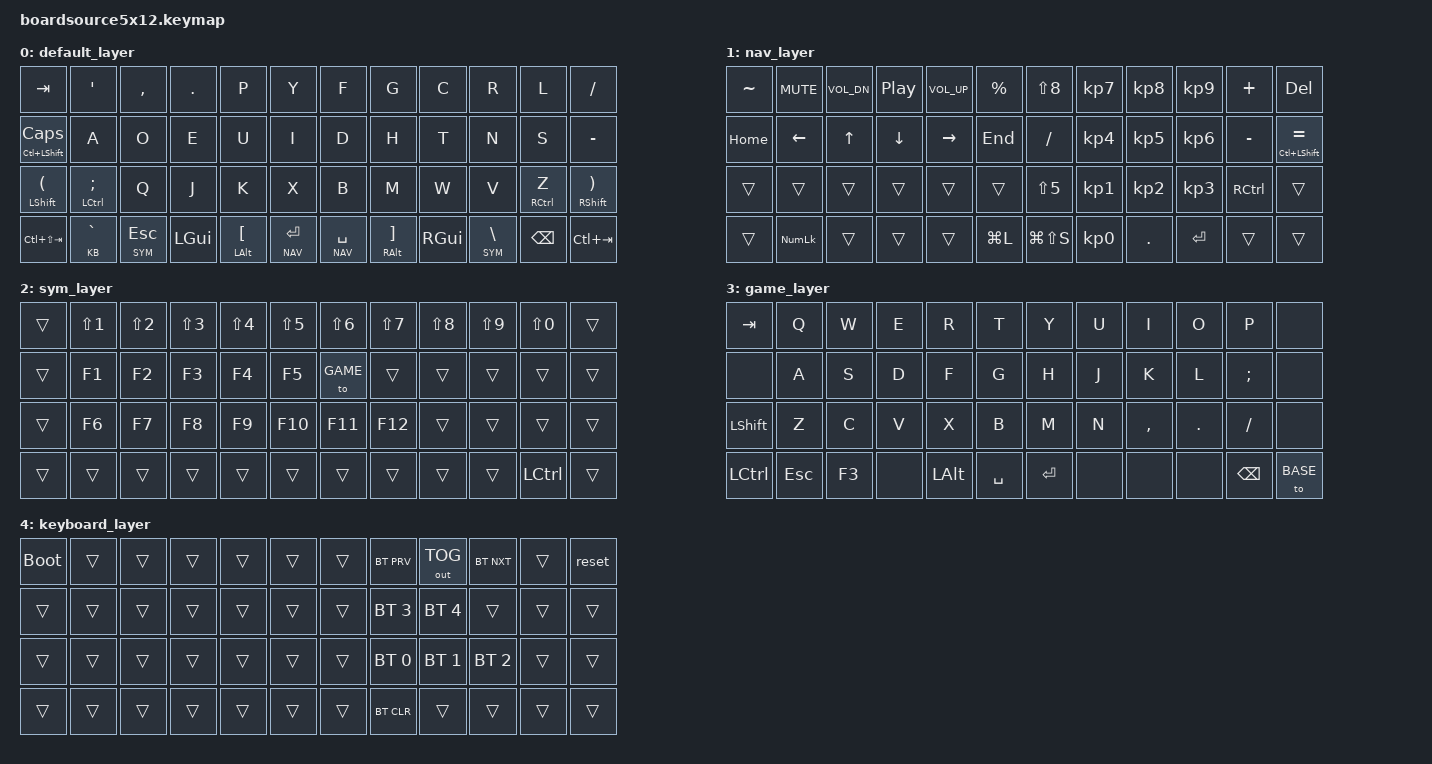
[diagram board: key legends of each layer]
/*
 * Copyright (c) 2021 The ZMK Contributors
 *
 * SPDX-License-Identifier: MIT
 */
 
#include <behaviors.dtsi>
#include <dt-bindings/zmk/keys.h>
#include <dt-bindings/zmk/bt.h>
#include <dt-bindings/zmk/outputs.h>

#define BASE 0
#define NAV 1
#define SYM 2
#define GAME 3
#define KB 4

/ {
    keymap {
        compatible = "zmk,keymap";

        default_layer {
            // ------------------------------------------------------------------------------------------
            // |  ESC  |  1   |  2   |  3   |  4   |   5   |   6   |  7    |  8   |  9   |   0   | BSPC  | <-- REMOVED
            // |  TAB  |  Q   |  W   |  E   |  R   |   T   |   Y   |  U    |  I   |  O   |   P   |  \    |
            // | SHIFT |  A   |  S   |  D   |  F   |   G   |   H   |  J    |  K   |  L   |   ;   |  '    |
            // | CTRL  |  Z   |  X   |  C   |  V   |   B   |   N   |  M    |  ,   |  .   |   /   | ENTER |
            // |ADJUST | LCTL | LALT | LGUI | LOWR | ENTER | SPACE |  RAIS | LARW | DARW | UARW  | RARW  |


            bindings = <
                &kp TAB             &kp SQT         &kp COMMA   &kp DOT  &kp P          &kp Y         &kp F           &kp G           &kp C       &kp R         &kp L        &kp FSLH
                &mt LC(LSHFT) CAPS  &kp A           &kp O       &kp E    &kp U          &kp I         &kp D           &kp H           &kp T       &kp N         &kp S        &kp MINUS
                &mt LSHFT LPAR      &mt LCTL SEMI   &kp Q       &kp J    &kp K          &kp X         &kp B           &kp M           &kp W       &kp V         &mt RCTL Z   &mt RSHFT RPAR
                &kp LC(LS(TAB))     &lt KB GRAVE    &lt SYM ESC &kp LGUI &mt LALT LBKT  &lt NAV RET   &lt NAV SPACE   &mt RALT RBKT   &kp RGUI    &lt SYM BSLH  &kp BSPC     &kp LC(TAB) 
            >;
        };

        nav_layer {
            // -------------------------------------------------------------------------------------------
            // |  ESC  |  F2  |  F3  |  F4  |  F5  |  F6  |   F7  |  F8   |  F9  | F10  |  F11  |  F12  | <-- REMOVED
            // |   ~   |  !   |  @   |  #   |  $   |  %   |   ^   |   &   |  *   |  (   |   )   |  DEL  |
            // |       |  F1  |  F2  |  F3  |  F4  |  F5  |   F6  |   _   |  +   |  {   |   }   |   |   |
            // |       |  F7  |  F8  |  F9  |  F10 |  F11 |   F12 | LS(#) |LS(|) |      |       |       |
            // |       |      |      |      |      |      |       |       | NEXT | Vol- | Vol+ | PLAY   |
            bindings = <
                &kp TILDE   &kp C_MUTE  &kp C_VOL_DN    &kp C_PP   &kp C_VOL_UP &kp PRCNT   &kp LS(N8)      &kp KP_N7  &kp KP_N8   &kp KP_N9     &kp PLUS         &kp DEL
                &kp HOME    &kp LEFT    &kp UP          &kp DOWN   &kp RIGHT    &kp END     &kp FSLH        &kp KP_N4  &kp KP_N5   &kp KP_N6     &kp MINUS        &mt LC(LSHFT) EQUAL
                &trans      &trans      &trans          &trans     &trans       &trans      &kp LS(N5)      &kp KP_N1  &kp KP_N2   &kp KP_N3     &kp RCTL         &trans
                &trans      &kp KP_NUM  &trans          &trans     &trans       &kp LG(L)   &kp LG(LS(S))   &kp KP_N0  &kp DOT     &kp RET       &trans           &trans 
            >;
        };

        sym_layer {
            // ------------------------------------------------------------------------------------------
            // |  ESC  |  F2  |  F3  |  F4  |  F5  |  F6  |  F7   |  F8   |  F9  | F10  |  F11  |  F12  | <-- REMOVED
            // |   ~   |  1   |  2   |  3   |  4   |  5   |  6    |   7   |  8   |  9   |   0   |  DEL  |
            // |  DEL  |  F1  |  F2  |  F3  |  F4  |  F5  |  F6   |   -   |  =   |  [   |   ]   |   \   |
            // |       |  F7  |  F8  |  F9  |  F10 |  F11 |  F12  |   #   |  |   |      |       |       |
            // |       |      |      |      |      |      |       |       |      |      |  LCTL |       |
            bindings = <
                &trans  &kp LS(N1)  &kp LS(N2)  &kp LS(N3)  &kp LS(N4)  &kp LS(N5)  &kp LS(N6)  &kp LS(N7)  &kp LS(N8)  &kp LS(N9)  &kp LS(N0)  &trans
                &trans  &kp F1      &kp F2      &kp F3      &kp F4      &kp F5      &to GAME    &trans      &trans      &trans      &trans      &trans
                &trans  &kp F6      &kp F7      &kp F8      &kp F9      &kp F10     &kp F11     &kp F12     &trans      &trans      &trans      &trans
                &trans  &trans      &trans      &trans      &trans      &trans      &trans      &trans      &trans      &trans      &kp LCTL    &trans
            >;
        };

        game_layer {
        //     // ------------------------------------------------------------------------------------------
        //     // |  NA  |  NA  |  NA  |  NA  |  NA  |  NA  |  NA  |  NA  |  NA  |  NA  |  NA  |  NA  |
        //     // |  NA  |  NA  |  NA  |  NA  |  NA  |  NA  |  NA  |  NA  |  NA  |  NA  |  NA  |  NA  |
        //     // |  NA  |  NA  |  NA  |  NA  |  NA  |  NA  |  NA  |  NA  |  NA  |  NA  |  NA  |  NA  |
        //     // |  NA  |  NA  |  NA  |  NA  |  NA  |  NA  |  NA  |  NA  |  NA  |  NA  |  NA  |  NA  |
            bindings = <
                &kp TAB     &kp Q   &kp W   &kp E   &kp R       &kp T       &kp Y   &kp U   &kp I       &kp O   &kp P       &none
                &none       &kp A   &kp S   &kp D   &kp F       &kp G       &kp H   &kp J   &kp K       &kp L   &kp SEMI    &none
                &kp LSHFT   &kp Z   &kp C   &kp V   &kp X       &kp B       &kp M   &kp N   &kp COMMA   &kp DOT &kp FSLH    &none
                &kp LCTL    &kp ESC &kp F3  &none   &kp LALT    &kp SPACE   &kp RET &none   &none       &none   &kp BSPC    &to BASE
            >;

        };

        keyboard_layer {
            // ----------------------------------------------------------------------------------------------
            // |tog(4) |  F2    |   F3   |   F4   |   F5   |   F6   |  F7  |  F8  |  F9  | F10 | F11 |      | <-- REMOVED
            // |out tog|BT_SEL 0|BT_SEL 1|BT_SEL 2|BT_SEL 3|BT_SEL 4|BT_PRV|BT_NXT|BT_CLR|     |     |      |
            // |       |        |        |        |        |        |      |      |      |     |     |      |
            // |       |        |        |        |        |        |      |      |      |     |     |      |
            // |       |        |        |        |        |        |      |      |      |     |     |      |
            bindings = <
                &bootloader &trans  &trans  &trans  &trans  &trans  &trans  &bt BT_PRV      &out OUT_TOG   &bt BT_NXT   &trans  &reset
                &trans      &trans  &trans  &trans  &trans  &trans  &trans  &bt BT_SEL 3    &bt BT_SEL 4   &trans       &trans  &trans
                &trans      &trans  &trans  &trans  &trans  &trans  &trans  &bt BT_SEL 0    &bt BT_SEL 1   &bt BT_SEL 2 &trans  &trans
                &trans      &trans  &trans  &trans  &trans  &trans  &trans  &bt BT_CLR      &trans         &trans       &trans  &trans
            >;
        };

        // blank_layer {
        //     // ------------------------------------------------------------------------------------------ FOR REFERENCE/
        //     // |  NA  |  NA  |  NA  |  NA  |  NA  |  NA  |  NA  |  NA  |  NA  |  NA  |  NA  |  NA  |
        //     // |  NA  |  NA  |  NA  |  NA  |  NA  |  NA  |  NA  |  NA  |  NA  |  NA  |  NA  |  NA  |
        //     // |  NA  |  NA  |  NA  |  NA  |  NA  |  NA  |  NA  |  NA  |  NA  |  NA  |  NA  |  NA  |
        //     // |  NA  |  NA  |  NA  |  NA  |  NA  |  NA  |  NA  |  NA  |  NA  |  NA  |  NA  |  NA  |
        //     bindings = <
        //         &none   &none   &none   &none   &none   &none   &none   &none   &none   &none   &none   &none
        //         &none   &none   &none   &none   &none   &none   &none   &none   &none   &none   &none   &none
        //         &none   &none   &none   &none   &none   &none   &none   &none   &none   &none   &none   &none
        //         &none   &none   &none   &none   &none   &none   &none   &none   &none   &none   &none   &none
        //     >;
        // };

        // flock_layer {
        //     // ----------------------------------------------------------------------------------------------
        //     // |tog(4) |  F2    |   F3   |   F4   |   F5   |   F6   |  F7  |  F8  |  F9  | F10 | F11 |      | <-- REMOVED
        //     // |out tog|BT_SEL 0|BT_SEL 1|BT_SEL 2|BT_SEL 3|BT_SEL 4|BT_PRV|BT_NXT|BT_CLR|     |     |      |
        //     // |       |        |        |        |        |        |      |      |      |     |     |      |
        //     // |       |        |        |        |        |        |      |      |      |     |     |      |
        //     // |       |        |        |        |        |        |      |      |      |     |     |      |
        //     bindings = <
        //         &out OUT_TOG &bt BT_SEL 0 &bt BT_SEL 1 &bt BT_SEL 2 &bt BT_SEL 3 &bt BT_SEL 4 &bt BT_PRV &bt BT_NXT &bt BT_CLR &trans  &trans  &trans
        //         &trans       &trans       &trans       &trans       &trans       &trans       &trans     &trans     &trans     &trans  &trans  &trans
        //         &trans       &trans       &trans       &trans       &trans       &trans       &trans     &trans     &trans     &trans  &trans  &trans
        //         &trans       &trans       &trans       &trans       &trans       &trans       &trans     &trans     &trans     &trans  &trans  &trans
        //     >;
        // };

    };
};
